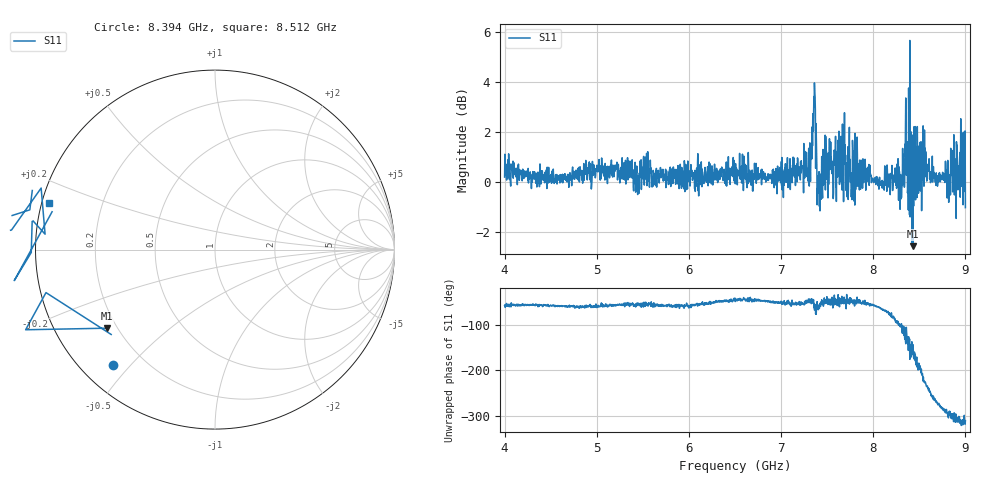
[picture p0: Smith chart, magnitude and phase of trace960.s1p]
! Created with skrf 1.8.0 (http://scikit-rf.org).
# Hz S RI R 50.0
!freq ReS11 ImS11
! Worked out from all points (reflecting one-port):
!   1601 points, 4 GHz to 9 GHz, reference 50 ohm
!   lowest |S11| = -2.6 dB at 8.431 GHz (marker M1), VSWR 6.85, Z = 8.05 - j15.9 ohm
!   phase of S11 starts at -58 deg and turns -253 deg over the sweep
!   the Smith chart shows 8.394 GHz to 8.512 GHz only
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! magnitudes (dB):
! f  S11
! 4 GHz  0.2
! 4.625 GHz  0.0
! 5.25 GHz  0.0
! 5.875 GHz  0.4
! 6.5 GHz  0.4
! 7.125 GHz  0.7
! 7.303 GHz  0.7
! 7.347 GHz  2.7
! 7.359 GHz  3.0
! 7.412 GHz  0.4
! 7.478 GHz  1.9
! 7.588 GHz  0.9
! 7.669 GHz  1.2
! 7.75 GHz  0.3
! 7.775 GHz  1.7
! 7.828 GHz  1.1
! 8.097 GHz  0.1
! 8.297 GHz  0.3
! 8.316 GHz  0.0
! 8.344 GHz  1.5
! 8.356 GHz  1.8
! 8.375 GHz  -0.3
! 8.431 GHz  -2.6
! 8.553 GHz  -0.1
! 8.681 GHz  -0.1
! 8.812 GHz  0.7
! 8.972 GHz  0.2
! 9 GHz  -1.0
